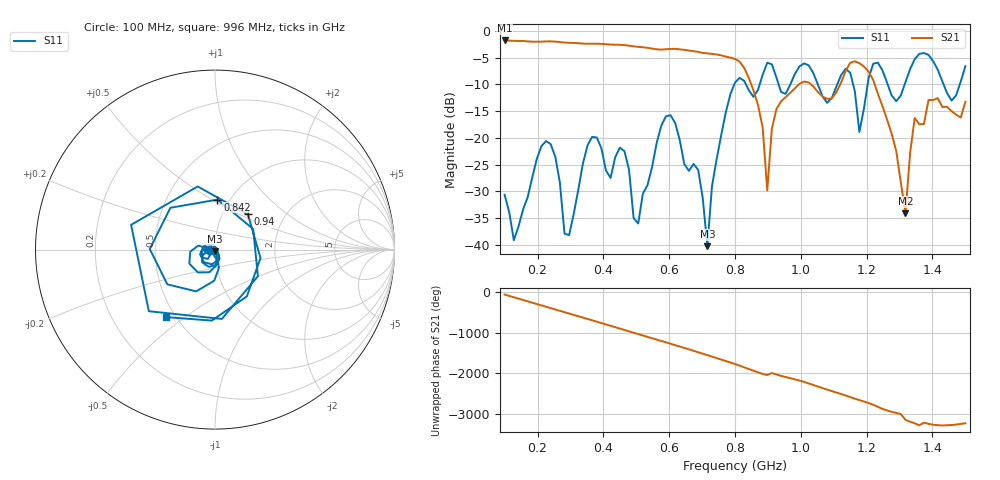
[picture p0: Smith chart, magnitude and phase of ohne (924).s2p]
! NanoVNA-App
! Date: 2025-09-25 14:27:59
! Start: 100MHz Stop: 1,5GHz Points: 101
! S-Parameter data: F S11 S21 S12 S22
# Hz S RI R 50
!  Frequency  S11_Real  S11_Imag  S21_Real  S21_Imag  S12_Real  S12_Imag  S22_Real  S22_Imag
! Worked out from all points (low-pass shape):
!   101 points, 100 MHz to 1.5 GHz, reference 50 ohm
!   highest |S21| = -1.79 dB at 100 MHz (marker M1); lowest = -34.1 dB at 1.318 GHz (marker M2)
!   |S21| within 3 dB of the highest: start of sweep to 771.2 MHz
!   lowest |S11| = -40.2 dB at 716 MHz (marker M3), VSWR 1.02, Z = 49.7 - j0.936 ohm
!   |S11| at or under -10 dB: start of sweep to 797.9 MHz; 833.2 MHz to 875.1 MHz (41.86 MHz wide, 4.9 % of centre); 1.052 GHz to 1.111 GHz (59.11 MHz wide, 5.47 % of centre) (the widest 3 of 7)
!   S12 and S22 are empty: the file has one direction only
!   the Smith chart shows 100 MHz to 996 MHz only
!   S11 on the Smith chart (normalised r, x): 100 MHz: 0.94, -0.01; 842 MHz: 0.88, +0.53; 940 MHz: 1.32, +0.56; 996 MHz: 0.44, -0.43
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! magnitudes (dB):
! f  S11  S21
! 100 MHz  -30.6  -1.8
! 128 MHz  -39.1  -1.9
! 226 MHz  -20.6  -2.0
! 296 MHz  -38.2  -2.2
! 338 MHz  -24.8  -2.4
! 464 MHz  -22.5  -2.7
! 506 MHz  -36.0  -3.0
! 576 MHz  -17.7  -3.5
! 688 MHz  -26.0  -3.9
! 716 MHz  -40.2  -4.2
! 800 MHz  -9.7  -5.2
! 842 MHz  -11.1  -8.8
! 898 MHz  -6.0  -29.8
! 940 MHz  -11.4  -13.2
! 996 MHz  -6.6  -9.9
! 1.038 GHz  -7.9  -10.4
! 1.178 GHz  -18.9  -6.1
! 1.22 GHz  -6.1  -9.2
! 1.276 GHz  -12.1  -19.2
! 1.318 GHz  -9.6  -34.1
! 1.346 GHz  -5.3  -16.3
! 1.5 GHz  -6.6  -13.3
